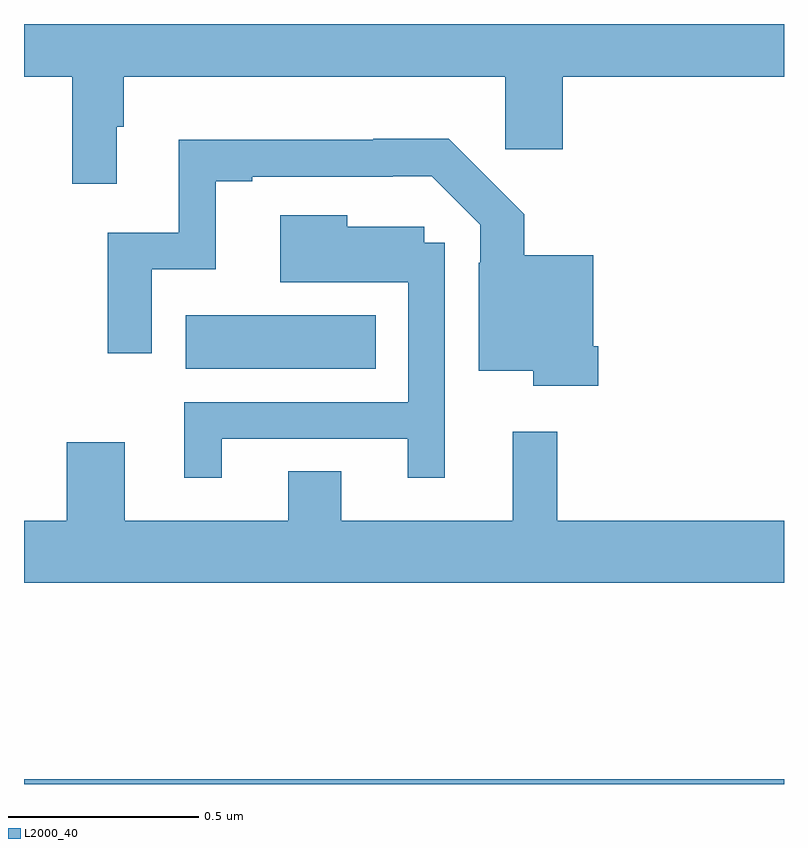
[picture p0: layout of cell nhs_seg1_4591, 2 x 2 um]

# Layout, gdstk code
import gdstk
lib = gdstk.Library(unit=1e-6, precision=1e-09)
def R(c, l, rs):  # rectangles x0, y0, x1, y1
    for r in rs: c.add(gdstk.rectangle(r[:2], r[2:], *l))
def P(c, l, *ps):  # polygons
    for p in ps: c.add(gdstk.Polygon(p, *l))
L2000_40 = (2000, 40)

nhs_seg1_4591 = lib.new_cell('nhs_seg1_4591')
R(nhs_seg1_4591, L2000_40, [(168,555.199,170,555.212), (168.426,556.292,168.926,556.432)])
P(nhs_seg1_4591, L2000_40, [(168.244,556.928),(168.263,556.928),(168.263,557.06),(169.267,557.06),(169.267,556.869),(169.418,556.869),(169.418,557.06),(170,557.06),(170,557.199),(168,557.199),(168,557.06),(168.127,557.06),(168.127,556.779),(168.244,556.779)],
  [(169.511,556.351),(169.498,556.351),(169.498,556.591),(169.316,556.591),(169.316,556.699),(169.118,556.897),(168.919,556.897),(168.919,556.894),(168.407,556.894),(168.407,556.65),(168.22,556.65),(168.22,556.332),(168.336,556.332),(168.336,556.554),(168.505,556.554),(168.505,556.785),(168.601,556.785),(168.601,556.797),(168.971,556.797),(168.971,556.799),(169.073,556.799),(169.2,556.671),(169.2,556.571),(169.197,556.571),(169.197,556.286),(169.34,556.286),(169.34,556.247),(169.511,556.247)],
  [(168.52,556.107),(169.01,556.107),(169.01,556.005),(169.107,556.005),(169.107,556.623),(169.053,556.623),(169.053,556.666),(168.85,556.666),(168.85,556.696),(168.674,556.696),(168.674,556.52),(169.011,556.52),(169.011,556.203),(168.422,556.203),(168.422,556.005),(168.52,556.005)],
  [(170,555.892),(169.403,555.892),(169.403,556.126),(169.286,556.126),(169.286,555.892),(168.835,555.892),(168.835,556.022),(168.695,556.022),(168.695,555.892),(168.265,555.892),(168.265,556.099),(168.113,556.099),(168.113,555.892),(168,555.892),(168,555.728),(170,555.728)])

lib.write_gds('nhs_seg1_4591.gds')
